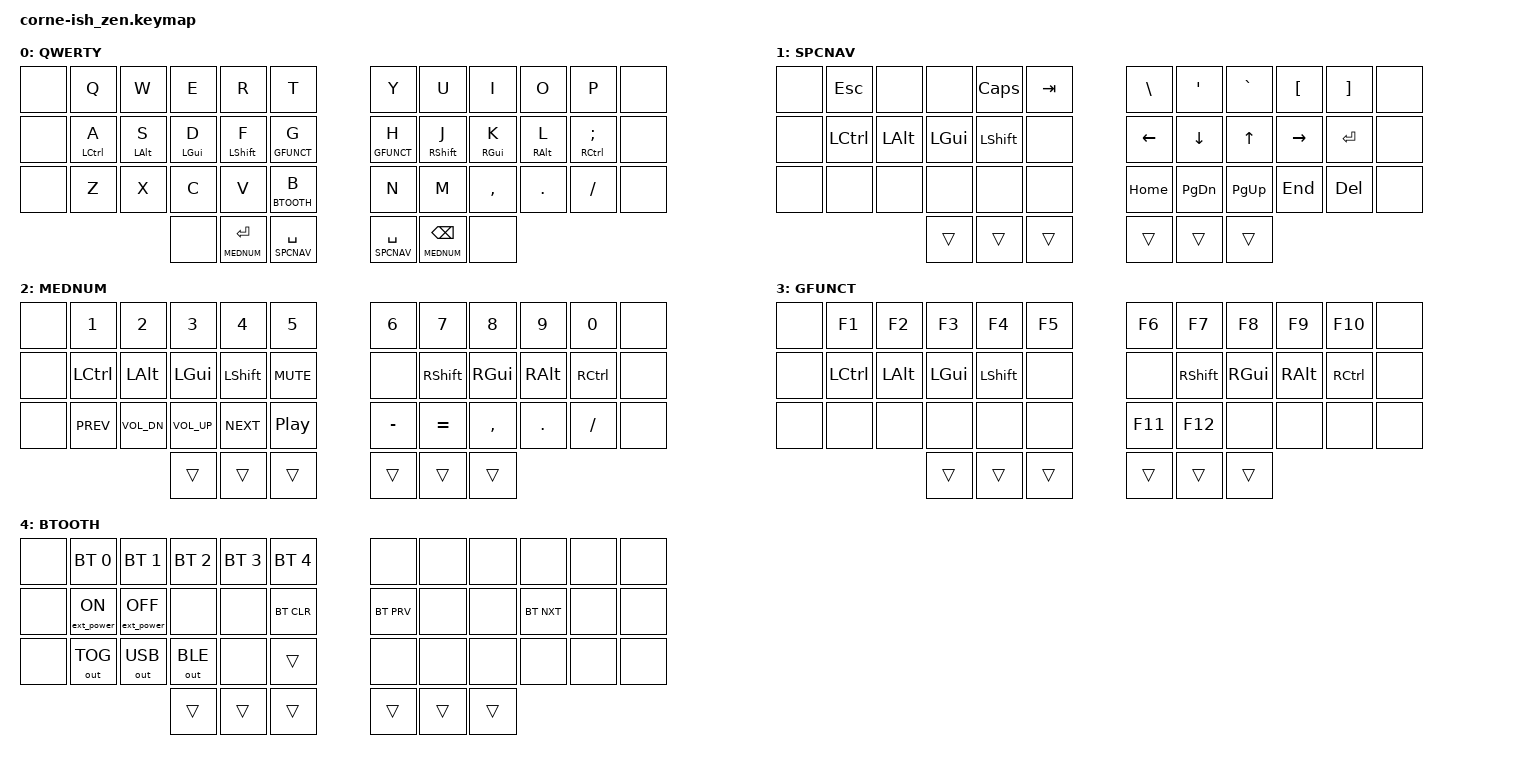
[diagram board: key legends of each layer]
#include <behaviors.dtsi>
#include <dt-bindings/zmk/keys.h>
#include <dt-bindings/zmk/bt.h>
#include <dt-bindings/zmk/ext_power.h>
#include <dt-bindings/zmk/outputs.h>

#define SPCNAV   1
#define MEDNUM   2
#define GFUNCT   3
#define BTOOTH   4

/ {
	behaviors {
		hm: homerow_mods {
			compatible = "zmk,behavior-hold-tap";
			label = "homerow mods";
			#binding-cells = <2>;
			tapping_term_ms = <200>;
			flavor = "tap-preferred";
			bindings = <&kp>, <&kp>;
		};
	};
};

/ {
	keymap {
		compatible = "zmk,keymap";

		default_layer {
			label = "QWERTY";
			// --------------------------------------------------------------------------------------------------											-----------------------------------------------------------------------------
			// |		| Q					| W					| E				| R			| T					|											| Y				| U			| I			| O			| P				|		|
			// |		| A (CTRL)			| S (ALT)			| D (META)		| F (SHIFT)	| G (FUNCTION)		|											| H				| J (SHIFT)	| K (META)	| L (ATL)	| ;				|		|
			// |		| Z					| X					| C				| V			| B (BTOOTH)		|											| N				| M			| ,			| .			| /				|		|
			//																	|			| ENTER (MEDNUM)	| SPACE (SPCNAV) |		| SPACE (SPCNAV)	|BCKSPC (MEDNUM)|              |
			bindings = <
				&none	&kp Q				&kp W				&kp E			&kp R		&kp T															&kp Y			&kp U		&kp I		&kp O		&kp P			&none
				&none	&hm LCTRL A			&hm LALT S			&hm LGUI D		&hm LSHFT F	&lt GFUNCT G													&lt GFUNCT H	&hm RSHFT J	&hm RGUI K	&hm RALT L	&hm RCTRL SEMI	&none
				&none	&kp Z				&kp X				&kp C			&kp V		&lt BTOOTH B													&kp N			&kp M       &kp COMMA	&kp DOT		&kp FSLH		&none
																				&none		&lt MEDNUM RET		&lt SPCNAV SPACE		&lt SPCNAV SPACE	&lt MEDNUM BSPC	&none
			>;
        };

		spacenav_layer {
			label = "SPCNAV";
			// --------------------------------------------------------------------------------------------------											-----------------------------------------------------------------------------
			// |		| ESCAPE			|					|				| CAPS LOCK	| TAB				|											| \				| '			| `			| [			| ]				|		|
			// |		| CONTROL			| ALT				| META			| SHIFT		|					|											| LEFT			| DOWN		| UP		| RIGHT		| ENTER			|		|
			// |		|					|					|				|			|					|											| HOME			| PAGE DOWN	| PAGE UP	| END		| DELETE		|		|
			//																	|			| ENTER				| SPACE			|		| SPACE				| BACKSPACE		|			|
			bindings = <
				&none	&kp ESC				&none				&none			&kp CAPS	&kp TAB															&kp BSLH		&kp SQT		&kp GRAVE	&kp LBKT	&kp RBKT		&none
				&none	&kp LCTRL			&kp LALT			&kp LGUI		&kp LSHFT	&none															&kp LEFT		&kp DOWN	&kp UP		&kp RIGHT	&kp RET			&none
				&none	&none				&none				&none			&none		&none															&kp HOME		&kp PG_DN	&kp PG_UP	&kp END		&kp DEL			&none
																				&trans		&trans				&trans					&trans				&trans			&trans
			>;
		};
		
		medianumber_layer {
			label = "MEDNUM";
			// --------------------------------------------------------------------------------------------------											-----------------------------------------------------------------------------
			// |		| 1					| 2					| 3				| 4			| 5					|											| 6				| 7			| 8			| 9			| 0				|		|
			// |		| CONTROL			| ALT				| META			| SHIFT		| MUTE				|											|				| SHIFT		| META		| ALT		| CONTROL		|		|
			// |		| PREVIOUS			| VOL DOWN			| VOL UP		| NEXT		| PLAY/PAUSE		|											| -				| =			| ,			| .			| /				|		|
			//																	|			| ENTER				| SPACE			|		| SPACE				| BACKSPACE		|			|
			bindings = <
				&none	&kp N1				&kp N2				&kp N3			&kp N4		&kp N5															&kp N6			&kp N7		&kp N8		&kp N9		&kp N0			&none
				&none	&kp LCTRL			&kp LALT			&kp LGUI		&kp LSHFT	&kp C_MUTE														&none			&kp RSHFT	&kp RGUI	&kp RALT	&kp RCTRL		&none
				&none	&kp C_PREV			&kp C_VOL_DN		&kp C_VOL_UP	&kp C_NEXT	&kp C_PP														&kp MINUS		&kp EQUAL	&kp COMMA	&kp DOT		&kp FSLH		&none
																				&trans		&trans				&trans					&trans				&trans			&trans
			>;
		};

		gfunction_layer {
			label = "GFUNCT";
			// --------------------------------------------------------------------------------------------------											-----------------------------------------------------------------------------
			// |		| F1				| F2				| F3			| F4 			| F5			|											| F6			| F7		| F8		| F9		| F10			|		|
			// |		| CONTROL			| ALT				| META			| SHIFT			|				|											|				| SHIFT		| META		| ALT		| CONTROL		|		|
			// |		|					|					|				|				|				|											| F11			| F12		| 			|			|				|		|
			//																	|				| ENTER			| SPACE			|		| SPACE				| BACKSPACE		|			
			bindings = <
				&none	&kp F1				&kp F2				&kp F3			&kp F4			&kp F5														&kp F6			&kp F7		&kp F8		&kp F9		&kp F10			&none
				&none	&kp LCTRL			&kp LALT			&kp LGUI		&kp LSHFT		&none														&none			&kp RSHFT	&kp RGUI	&kp RALT	&kp RCTRL		&none
				&none	&none				&none				&none			&none			&none														&kp F11			&kp F12		&none		&none		&none			&none
																				&trans			&trans			&trans					&trans				&trans			&trans
			>;
		};

		bluetooth_layer {
			label = "BTOOTH";
			// --------------------------------------------------------------------------------------------------											-----------------------------------------------------------------------------
			// |		| BT0				| BT1				| BT2			| BT3 			| BT4			|											|				|			|			|			|				|		|
			// |		| EXT POWER ON		| EXT POWER OFF		| 				|				| BT CLEAR		|											| BT PREVIOUS	|			|			| BT NEXT	|				|		|
			// |		| OUTPUT TOGGLE		| OUTPUT USB		| OUTPUT BLE	|				|				|											|				|			|			|			|				|		|
			//																	|				| ENTER			| SPACE			|		| SPACE				| BACKSPACE		|			|
			bindings = <
				&none	&bt BT_SEL 0		&bt BT_SEL 1		&bt BT_SEL 2	&bt BT_SEL 3	&bt BT_SEL 4												&none			&none		&none		&none		&none			&none
				&none	&ext_power EP_ON	&ext_power EP_OFF	&none			&none			&bt BT_CLR													&bt BT_PRV		&none		&none		&bt BT_NXT	&none			&none
				&none	&out OUT_TOG		&out OUT_USB		&out OUT_BLE	&none			&trans														&none			&none		&none		&none		&none			&none
																				&trans			&trans			&trans					&trans				&trans			&trans
			>;
		};
	};
};
